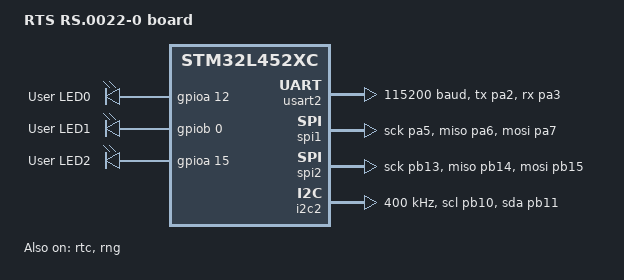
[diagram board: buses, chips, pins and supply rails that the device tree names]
/dts-v1/;
#include <st/l4/stm32l452Xc.dtsi>
#include <st/l4/stm32l452c(c-e)ux-pinctrl.dtsi>

/ {
	model = "RTS RS.0022-0 board";
	compatible = "rts,rs_0022_0";

	chosen {
		zephyr,console = &usart2;
		zephyr,shell-uart = &usart2;
		zephyr,sram = &sram0;
		zephyr,flash = &flash0;
		zephyr,code-partition = &slot0_partition;
	};

	leds {
		compatible = "gpio-leds";
		blue_led: led_0 {
			gpios = <&gpioa 12 GPIO_ACTIVE_HIGH>;
			label = "User LED0";
		};
        yellow_led: led_1 {
			gpios = <&gpiob 0 GPIO_ACTIVE_HIGH>;
			label = "User LED1";
		};
        red_led: led_2 {
            gpios = <&gpioa 15 GPIO_ACTIVE_HIGH>;
            label = "User LED2";
        };
	};

    aliases {
        led0 = &blue_led;
        led1 = &yellow_led;
        led2 = &red_led;
    };
};

&clk_hsi {
	status = "okay";
};

&pll {
	div-m = <1>;            // 16 / 1 = 16MHz
	mul-n = <20>;           // 16 * 24 = 384MHz
	div-p = <7>;            // 384 / 7 = 54.85MHz
	div-q = <2>;            // 384 / 8 = 48MHz
	div-r = <4>;            // 384 / 6 = 64MHz
	clocks = <&clk_hsi>;
	status = "okay";
};

&rcc {
	clocks = <&pll>;
	clock-frequency = <DT_FREQ_M(80)>;
	ahb-prescaler = <1>;
	apb1-prescaler = <1>;
	apb2-prescaler = <1>;
};

&usart2 {
	pinctrl-0 = <&usart2_tx_pa2 &usart2_rx_pa3>;
	current-speed = <115200>;
	status = "okay";
};

&dma1 {
    status = "okay";
};

&spi1 {
    pinctrl-0 = <&spi1_sck_pa5 &spi1_miso_pa6 &spi1_mosi_pa7>;
    status = "okay";
};
&spi2 {
	pinctrl-0 = <&spi2_sck_pb13 &spi2_miso_pb14 &spi2_mosi_pb15>;
    status = "okay";
};

&i2c2 {
	pinctrl-0 = <&i2c2_scl_pb10 &i2c2_sda_pb11>;
	clock-frequency = <I2C_BITRATE_FAST>;
	status = "okay";
};

&rtc {
	status = "okay";
};

&rng {
    status = "okay";
};

&flash0 {
	/*
	 * For more information, see:
	 * http://docs.zephyrproject.org/latest/guides/dts/index.html#flash-partitions
	 */
	partitions {
		compatible = "fixed-partitions";
		#address-cells = <1>;
		#size-cells = <1>;
		/*
		 * Reserve the final 16 KiB for file system partition
		 */
		boot_partition: partition@0 {
            label = "mcuboot";
            reg = <0x00000000 0xC350>;
		};

		slot0_partition:partition@C350 {
            label = "image-0";
            reg = <0x0000C350 0x1CF2B>;
		};

		slot1_partition:partition@2927B {
            label = "image-1";
            reg = <0x0002927B 0x1CF2B>;
		};

		scratch_partition:partition@461A6 {
            label = "image-scratch";
            reg = <0x000461A6 0x1CF2B>;
		};

        storage_partition: partition@630D1 {
			label = "storage";
			reg = <0x000630D1 0x1CF2B>;
		};
	};
};

